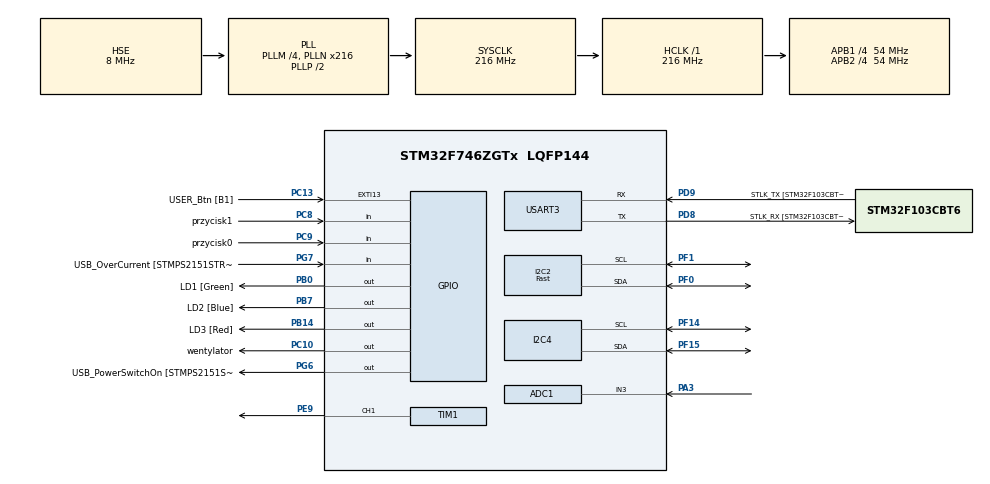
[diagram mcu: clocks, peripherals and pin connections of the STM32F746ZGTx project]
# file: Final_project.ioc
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ADC1.Channel-0\#ChannelRegularConversion=ADC_CHANNEL_3
ADC1.NbrOfConversionFlag=1
ADC1.Rank-0\#ChannelRegularConversion=1
ADC1.SamplingTime-0\#ChannelRegularConversion=ADC_SAMPLETIME_3CYCLES
ADC1.master=1
ARM.CMSIS.5.7.0.CMSISJjCORE=true
ARM.CMSIS.5.7.0.CMSISJjDSP=Library
I2C2.I2C_Speed_Mode=I2C_Fast
I2C2.Speed=200
I2C2.Timing=0x00501FE4
I2C4.Timing=0x20404768
Mcu.Family=STM32F7
Mcu.Name=STM32F746ZGTx
Mcu.Package=LQFP144
NVIC.PriorityGroup=NVIC_PRIORITYGROUP_4
NVIC.TIM2_IRQn=true\:0\:0\:false\:false\:true\:true\:true\:true
NVIC.TIM3_IRQn=true\:0\:0\:false\:false\:true\:true\:true\:true
NVIC.TIM4_IRQn=true\:0\:0\:false\:false\:true\:true\:true\:true
NVIC.TIM8_BRK_TIM12_IRQn=true\:0\:0\:false\:false\:true\:true\:true\:true
NVIC.USART3_IRQn=true\:0\:0\:false\:false\:true\:true\:true\:true
PA1.GPIO_Label=RMII_REF_CLK [LAN8742A-CZ-TR_REFCLK0]
PA1.Signal=ETH_REF_CLK
PA10.GPIO_Label=USB_ID
PA10.Signal=USB_OTG_FS_ID
PA11.GPIO_Label=USB_DM
PA11.Signal=USB_OTG_FS_DM
PA12.GPIO_Label=USB_DP
PA12.Signal=USB_OTG_FS_DP
PA13.GPIO_Label=TMS
PA13.Mode=Serial_Wire
PA13.Signal=SYS_JTMS-SWDIO
PA14.GPIO_Label=TCK
PA14.Mode=Serial_Wire
PA14.Signal=SYS_JTCK-SWCLK
PA2.GPIO_Label=RMII_MDIO [LAN8742A-CZ-TR_MDIO]
PA2.Signal=ETH_MDIO
PA3.Signal=ADCx_IN3
PA7.GPIO_Label=RMII_CRS_DV [LAN8742A-CZ-TR_CRS_DV]
PA7.Signal=ETH_CRS_DV
PA8.GPIO_Label=USB_SOF [TP1]
PA8.Signal=USB_OTG_FS_SOF
PA9.GPIO_Label=USB_VBUS
PA9.Signal=USB_OTG_FS_VBUS
PB0.GPIO_Label=LD1 [Green]
PB0.Signal=GPIO_Output
PB13.GPIO_Label=RMII_TXD1 [LAN8742A-CZ-TR_TXD1]
PB13.Signal=ETH_TXD1
PB14.GPIO_Label=LD3 [Red]
PB14.Signal=GPIO_Output
PB3.GPIO_Label=SW0
PB3.Signal=SYS_JTDO-SWO
PB7.GPIO_Label=LD2 [Blue]
PB7.Signal=GPIO_Output
PC1.GPIO_Label=RMII_MDC [LAN8742A-CZ-TR_MDC]
PC1.Signal=ETH_MDC
PC10.GPIO_Label=wentylator
PC10.Signal=GPIO_Output
PC13.GPIO_Label=USER_Btn [B1]
PC13.Signal=GPXTI13
PC14/OSC32_IN.Mode=LSE-External-Oscillator
PC14/OSC32_IN.Signal=RCC_OSC32_IN
PC15/OSC32_OUT.Mode=LSE-External-Oscillator
PC15/OSC32_OUT.Signal=RCC_OSC32_OUT
PC4.GPIO_Label=RMII_RXD0 [LAN8742A-CZ-TR_RXD0]
PC4.Signal=ETH_RXD0
PC5.GPIO_Label=RMII_RXD1 [LAN8742A-CZ-TR_RXD1]
PC5.Signal=ETH_RXD1
PC8.GPIO_Label=przycisk1
PC8.Signal=GPIO_Input
PC9.GPIO_Label=przycisk0
PC9.Signal=GPIO_Input
PD8.GPIO_Label=STLK_RX [STM32F103CBT6_PA3]
PD8.GPIO_PuPd=GPIO_PULLUP
PD8.Mode=Asynchronous
PD8.Signal=USART3_TX
PD9.GPIO_Label=STLK_TX [STM32F103CBT6_PA2]
PD9.GPIO_PuPd=GPIO_PULLUP
PD9.Mode=Asynchronous
PD9.Signal=USART3_RX
PE9.Signal=S_TIM1_CH1
PF0.Mode=I2C
PF0.Signal=I2C2_SDA
PF1.Mode=I2C
PF1.Signal=I2C2_SCL
PF14.Mode=I2C
PF14.Signal=I2C4_SCL
PF15.Mode=I2C
PF15.Signal=I2C4_SDA
PG11.GPIO_Label=RMII_TX_EN [LAN8742A-CZ-TR_TXEN]
PG11.Signal=ETH_TX_EN
PG13.GPIO_Label=RMII_TXD0 [LAN8742A-CZ-TR_TXD0]
PG13.Signal=ETH_TXD0
PG6.GPIO_Label=USB_PowerSwitchOn [STMPS2151STR_EN]
PG6.Signal=GPIO_Output
PG7.GPIO_Label=USB_OverCurrent [STMPS2151STR_FAULT]
PG7.Signal=GPIO_Input
PH0/OSC_IN.GPIO_Label=MCO [STM32F103CBT6_PA8]
PH0/OSC_IN.Mode=HSE-External-Clock-Source
PH0/OSC_IN.Signal=RCC_OSC_IN
PH1/OSC_OUT.Mode=HSE-External-Clock-Source
PH1/OSC_OUT.Signal=RCC_OSC_OUT
ProjectManager.HeapSize=0x200
ProjectManager.StackSize=0x400
ProjectManager.TargetToolchain=STM32CubeIDE
RCC.48MHZClocksFreq_Value=24000000
RCC.AHBFreq_Value=216000000
RCC.APB1CLKDivider=RCC_HCLK_DIV4
RCC.APB1Freq_Value=54000000
RCC.APB1TimFreq_Value=108000000
RCC.APB2CLKDivider=RCC_HCLK_DIV4
RCC.APB2Freq_Value=54000000
RCC.APB2TimFreq_Value=108000000
RCC.CortexFreq_Value=216000000
RCC.HCLKFreq_Value=216000000
RCC.HSE_VALUE=8000000
RCC.HSI_VALUE=16000000
RCC.PLLM=4
RCC.PLLMUL=RCC_PLL_MUL9
RCC.PLLN=216
RCC.PLLQ=9
RCC.PLLSourceVirtual=RCC_PLLSOURCE_HSE
RCC.PRESCALERUSB=RCC_USBCLKSOURCE_PLL_DIV1_5
RCC.SYSCLKFreq_VALUE=216000000
RCC.SYSCLKSource=RCC_SYSCLKSOURCE_PLLCLK
RCC.SYSCLKSourceVirtual=RCC_SYSCLKSOURCE_PLLCLK
RCC.USBFreq_Value=48000000
RCC.VCOOutputFreq_Value=432000000
SH.ADCx_IN3.0=ADC1_IN3,IN3
SH.S_TIM1_CH1.0=TIM1_CH1,PWM Generation1 CH1
TIM1.Channel-PWM\ Generation1\ CH1=TIM_CHANNEL_1
TIM1.Period=99
TIM1.Prescaler=107
TIM2.Period=999
TIM2.Prescaler=10799
TIM3.CounterMode=TIM_COUNTERMODE_UP
TIM3.Period=4999
TIM3.Prescaler=10799
TIM4.Period=1249
TIM4.Prescaler=10799
TIM8.Period=999
TIM8.Prescaler=107
USART3.VirtualMode-Asynchronous=VM_ASYNC
VP_ARM.CMSIS_VS_CMSISJjCORE_5.4.0_5.7.0.Mode=CMSISJjCORE
VP_ARM.CMSIS_VS_CMSISJjDSP_1.8.0_5.7.0.Mode=CMSISJjDSP
VP_TIM2_VS_ClockSourceINT.Mode=Internal
VP_TIM3_VS_ClockSourceINT.Mode=Internal
VP_TIM4_VS_ClockSourceINT.Mode=Internal
VP_TIM8_VS_ClockSourceINT.Mode=Internal
board=NUCLEO-F746ZG

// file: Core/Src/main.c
/* USER CODE BEGIN Header */
/**
  ******************************************************************************
  * @file           : main.c
  * @brief          : Main program body
  ******************************************************************************
  * @attention
  *
  * Copyright (c) 2023 STMicroelectronics.
  * All rights reserved.
  *
  * This software is licensed under terms that can be found in the LICENSE file
  * in the root directory of this software component.
  * If no LICENSE file comes with this software, it is provided AS-IS.
  *
  ******************************************************************************
  */
/* USER CODE END Header */
#include "main.h"
#include "adc.h"
#include "i2c.h"
#include "tim.h"
#include "usart.h"
#include "gpio.h"

/* USER CODE BEGIN Includes */
#include "stdbool.h"
#include "ssd1306.h"
#include "ssd1306_tests.h"
#include "mcp9808.h"
#include <stdio.h>
#include <stdlib.h>
#include "arm_math.h"
/* USER CODE END Includes */

/* USER CODE BEGIN PV */
char received_data[4];  // do tego będą sie odbierać dane z portu szeregowego
float akutalna_temperatura = 0.00;  // temperatura aktualna tu bedzie
float value = 0.00; // to z zadajnika analogowego 0.0f-1.0f
uint16_t current_duty_cycle = 0; // 0-1000 (multiplied x10 to get higher resolution)
uint16_t sterowanie = 0; // 0-1000 (multiplied x10 to get higher resolution)
float zadana_temperatura = 0;

// zmienne do PID
float kp = 45.0f;
float ki = 0.06f;
float kd = 0.0f;
float aktualny_blad=0;	// offset
arm_pid_instance_f32 pid;

/* USER CODE END PV */

void SystemClock_Config(void);
/* USER CODE BEGIN PFP */

void nastawy_pid_cmsis(arm_pid_instance_f32 * S){
	// dopisuje to bo nie nastawia sie domyslnie
	// na podstawie 5837-5839 z pliku arm_math.h
	S->A0 = S->Kp + S->Ki + S->Kd;
	S->A1 = (-(S->Kp)-(2*S->Kd));
	S->A2 = S->Kd;
}

void ograniczenie_sygnału_cmsis(arm_pid_instance_f32 * S){
	// tutaj se napisałem taki prowizoryczny anti-windup :)
	if(S->state[2]>500){
		S->state[2] = 500;
	}
	if(S->state[2]<0){
	    S->state[2] = 0;
	}
}

bool grzanie_on_off() {
	if(HAL_GPIO_ReadPin(przycisk0_GPIO_Port, przycisk0_Pin) == GPIO_PIN_SET){
		return true;
	}
	else{
		return false;
	}
}

bool auto_manual_on_off() {
	if(HAL_GPIO_ReadPin(przycisk1_GPIO_Port, przycisk1_Pin) == GPIO_PIN_SET){
		return true;
	}
	else{
		return false;
	}
}

// Z tym gównem też chyba jest coś nie tak
void HAL_UART_RxCpltCallback(UART_HandleTypeDef *huart) {
	//HAL_UART_Receive_IT(&huart3, received_data, 3); // Tu włącza sie to gowno znowu :)
	if(auto_manual_on_off()){
		if(atof(received_data)>50){
			zadana_temperatura = 50;
		}
		else if(atof(received_data)<20){
			zadana_temperatura = 20;
		}
		else{
			zadana_temperatura = atof(received_data);
		}
		arm_pid_reset_f32(&pid);
		nastawy_pid_cmsis(&pid);
	}
}

float zadajnik() {
	HAL_ADC_Start(&hadc1);
	HAL_ADC_PollForConversion(&hadc1, HAL_MAX_DELAY);
	uint32_t value = HAL_ADC_GetValue(&hadc1);
	float ser = (1.0f * value /4095.0f)*30+20;
	return ser;
}

// Jakbym miał powiedzieć gdzie sie wypierdoli ten kod to wlasnie tutaj
void change_current_duty_cycle(TIM_HandleTypeDef* htim, uint32_t channel, uint16_t current_duty_cycle)
{
    // calculate the new pulse value
    uint32_t pulse = ((htim->Init.Period+1) * current_duty_cycle) / 1000;
    // update the capture/compare register
    __HAL_TIM_SET_COMPARE(htim, channel, pulse);
}

void wyswietlacz(){
	ssd1306_Fill(Black);
	uint8_t y = 0; // ktora linia wyswietlacza

	char temp_buf[6];
	gcvt(akutalna_temperatura, 6, temp_buf);
	ssd1306_SetCursor(2, y);
	char buf0[20] = "Temperatura:";
	ssd1306_WriteString(strcat(buf0, temp_buf), Font_7x10, White);
	y += 10;

	char set_buf[6];
	gcvt(zadana_temperatura, 4, set_buf);
	ssd1306_SetCursor(2, y);
	char buf1[20] = "Nastawa:";
	ssd1306_WriteString(strcat(buf1, set_buf), Font_7x10, White);
	y += 10;

	float duty_cl = sterowanie/10.0f;
	char duty_buf[6];
	gcvt(duty_cl, 3, duty_buf);
	ssd1306_SetCursor(2, y);
	char buf2[20] = "PWM: ";
	strcat(buf2, duty_buf);
	ssd1306_WriteString(strcat(buf2, "%"), Font_7x10, White);
	y += 10;

	ssd1306_SetCursor(2, y);
	char buf3[20] = "Dziala: ";
	if(grzanie_on_off()){
		ssd1306_WriteString(strcat(buf3, "TAK"), Font_7x10, White);
	}
	else{
		ssd1306_WriteString(strcat(buf3, "NIE"), Font_7x10, White);
	}
	y += 10;

	ssd1306_SetCursor(2, y);
		char buf6[20] = "Tryb: ";
		if(auto_manual_on_off()){
			ssd1306_WriteString(strcat(buf6, "AUTOMAT"), Font_7x10, White);
		}
		else{
			ssd1306_WriteString(strcat(buf6, "MANUAL"), Font_7x10, White);
		}
		y += 10;

	ssd1306_UpdateScreen();
}

void transmit_data(float current_temp){
    char data_buf[100];
    gcvt(current_temp, 6, data_buf); // convertuje float na string
    strcat(data_buf, ";"); // dodaje srednik
    gcvt(sterowanie/1.0f, 6, data_buf+strlen(data_buf));
    if(HAL_GPIO_ReadPin(wentylator_GPIO_Port, wentylator_Pin)==GPIO_PIN_RESET){
    	strcat(data_buf, ";0.0");
    }
    else{
    	strcat(data_buf, ";1.0");
    }
    strcat(data_buf, "\r\n");
    HAL_UART_Transmit(&huart3, data_buf, strlen(data_buf), 100);
}

void HAL_TIM_PeriodElapsedCallback(TIM_HandleTypeDef *htim){
	if(htim->Instance == TIM2){ // If the interrupt is from timer 2 - 10Hz
		current_duty_cycle = sterowanie;
		transmit_data(akutalna_temperatura);
		aktualny_blad = (zadana_temperatura-akutalna_temperatura);
		if(grzanie_on_off()){
			//sterowanie = 500;
			sterowanie = round(arm_pid_f32(&pid, aktualny_blad));
			if(sterowanie>500){
				sterowanie = 500;
				HAL_GPIO_WritePin(wentylator_GPIO_Port, wentylator_Pin, GPIO_PIN_RESET);
			}
			else if(sterowanie>0&&aktualny_blad>0){
				HAL_GPIO_WritePin(wentylator_GPIO_Port, wentylator_Pin, GPIO_PIN_RESET);
			}
			else if(sterowanie==0){
				HAL_GPIO_WritePin(wentylator_GPIO_Port, wentylator_Pin, GPIO_PIN_SET);
			}
			ograniczenie_sygnału_cmsis(&pid);
			if(HAL_GPIO_ReadPin(wentylator_GPIO_Port, wentylator_Pin)==GPIO_PIN_SET){
				sterowanie = 0;
			}
		}
		else{
			arm_pid_reset_f32(&pid);
			nastawy_pid_cmsis(&pid);
			sterowanie = 0;
			HAL_GPIO_WritePin(wentylator_GPIO_Port, wentylator_Pin, GPIO_PIN_SET);
		}
		change_current_duty_cycle(&htim1, TIM_CHANNEL_1, sterowanie);
	}
	if(htim->Instance == TIM3){ // If the interrupt is from timer 3 - 2Hz
		//ssd1306_TestAll();
		HAL_UART_Receive_IT(&huart3, received_data, 4);
	}
	if(htim->Instance == TIM4){ // If the interrupt is from timer 4 - 8Hz
		MCP9808_MeasureTemperature(&akutalna_temperatura);
		if(auto_manual_on_off()==false){
			zadana_temperatura = round(zadajnik());
		}
		wyswietlacz();
	}
}

/* USER CODE END PFP */

int main(void)
{

  /* MCU Configuration--------------------------------------------------------*/

  /* Reset of all peripherals, Initializes the Flash interface and the Systick. */
  HAL_Init();

  /* Configure the system clock */
  SystemClock_Config();

  /* Initialize all configured peripherals */
  MX_GPIO_Init();
  MX_USART3_UART_Init();
  MX_I2C2_Init();
  MX_TIM2_Init();
  MX_TIM3_Init();
  MX_TIM4_Init();
  MX_I2C4_Init();
  MX_ADC1_Init();
  MX_TIM1_Init();
  MX_TIM8_Init();
  /* USER CODE BEGIN 2 */
  //ssd1306_TestAll();
  ssd1306_Init(); // Inicjalizacja wyświetlacza
  MCP9808_Init(&hi2c4, 0x18); // inicjalizacja sensora temperatury
  // Tutej nastawiają się dokładności czujnika temperatury :))))
  MCP9808_SetResolution(MCP9808_High_Res);  ///> High 0.125 (130 ms)
  arm_pid_init_f32(&pid, 1);
  pid.Kp=kp;
  pid.Kd=kd;
  pid.Ki=ki;
  nastawy_pid_cmsis(&pid);

  HAL_UART_Receive_IT(&huart3, received_data, 4);
  HAL_TIM_PWM_Start(&htim1, TIM_CHANNEL_1);

// te niżej najlepiej jak beda na koncu // tak powiedzial szef
  HAL_TIM_Base_Start_IT(&htim2);
  HAL_TIM_Base_Start_IT(&htim3);
  HAL_TIM_Base_Start_IT(&htim4);
  /* USER CODE END 2 */

  /* Infinite loop */
  while (1)
  {

  }
}

void SystemClock_Config(void)
{
  RCC_OscInitTypeDef RCC_OscInitStruct = {0};
  RCC_ClkInitTypeDef RCC_ClkInitStruct = {0};

  /** Configure LSE Drive Capability
  */
  HAL_PWR_EnableBkUpAccess();

  /** Configure the main internal regulator output voltage
  */
  __HAL_RCC_PWR_CLK_ENABLE();
  __HAL_PWR_VOLTAGESCALING_CONFIG(PWR_REGULATOR_VOLTAGE_SCALE1);

  /** Initializes the RCC Oscillators according to the specified parameters
  * in the RCC_OscInitTypeDef structure.
  */
  RCC_OscInitStruct.OscillatorType = RCC_OSCILLATORTYPE_HSE;
  RCC_OscInitStruct.HSEState = RCC_HSE_BYPASS;
  RCC_OscInitStruct.PLL.PLLState = RCC_PLL_ON;
  RCC_OscInitStruct.PLL.PLLSource = RCC_PLLSOURCE_HSE;
  RCC_OscInitStruct.PLL.PLLM = 4;
  RCC_OscInitStruct.PLL.PLLN = 216;
  RCC_OscInitStruct.PLL.PLLP = RCC_PLLP_DIV2;
  RCC_OscInitStruct.PLL.PLLQ = 9;
  if (HAL_RCC_OscConfig(&RCC_OscInitStruct) != HAL_OK)
  {
    Error_Handler();
  }

  /** Activate the Over-Drive mode
  */
  if (HAL_PWREx_EnableOverDrive() != HAL_OK)
  {
    Error_Handler();
  }

  /** Initializes the CPU, AHB and APB buses clocks
  */
  RCC_ClkInitStruct.ClockType = RCC_CLOCKTYPE_HCLK|RCC_CLOCKTYPE_SYSCLK
                              |RCC_CLOCKTYPE_PCLK1|RCC_CLOCKTYPE_PCLK2;
  RCC_ClkInitStruct.SYSCLKSource = RCC_SYSCLKSOURCE_PLLCLK;
  RCC_ClkInitStruct.AHBCLKDivider = RCC_SYSCLK_DIV1;
  RCC_ClkInitStruct.APB1CLKDivider = RCC_HCLK_DIV4;
  RCC_ClkInitStruct.APB2CLKDivider = RCC_HCLK_DIV4;

  if (HAL_RCC_ClockConfig(&RCC_ClkInitStruct, FLASH_LATENCY_7) != HAL_OK)
  {
    Error_Handler();
  }
}

void Error_Handler(void)
{
  __disable_irq();
  while (1)
  {
  }
}
